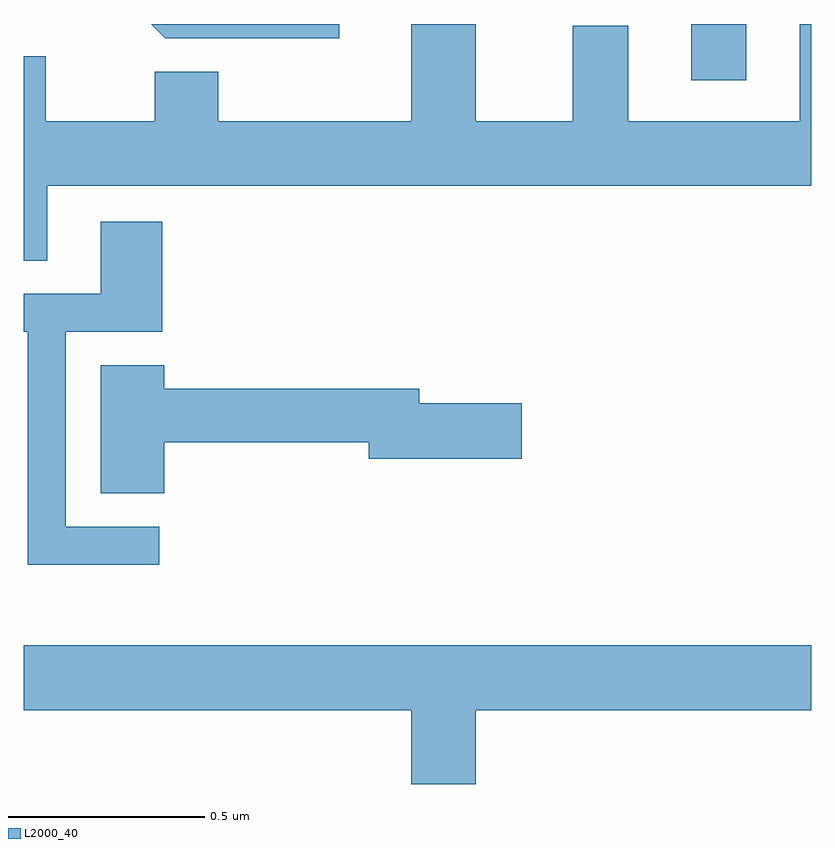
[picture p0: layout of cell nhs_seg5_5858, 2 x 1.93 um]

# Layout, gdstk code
import gdstk
lib = gdstk.Library(unit=1e-6, precision=1e-09)
def R(c, l, rs):  # rectangles x0, y0, x1, y1
    for r in rs: c.add(gdstk.rectangle(r[:2], r[2:], *l))
def P(c, l, *ps):  # polygons
    for p in ps: c.add(gdstk.Polygon(p, *l))
L2000_40 = (2000, 40)

nhs_seg5_5858 = lib.new_cell('nhs_seg5_5858')
R(nhs_seg5_5858, L2000_40, [(189.695,895.656,189.835,895.799)])
P(nhs_seg5_5858, L2000_40, [(190,895.799),(189.971,895.799),(189.971,895.552),(189.535,895.552),(189.535,895.795),(189.395,895.795),(189.395,895.552),(189.148,895.552),(189.148,895.799),(188.984,895.799),(188.984,895.552),(188.494,895.552),(188.494,895.678),(188.333,895.678),(188.333,895.552),(188.056,895.552),(188.056,895.717),(188,895.717),(188,895.198),(188.059,895.198),(188.059,895.388),(190,895.388)],
  [(188.801,895.799),(188.323,895.799),(188.359,895.763),(188.801,895.763)],
  [(188.344,894.522),(188.106,894.522),(188.106,895.017),(188.351,895.017),(188.351,895.297),(188.195,895.297),(188.195,895.113),(188,895.113),(188,895.017),(188.01,895.017),(188.01,894.425),(188.344,894.425)],
  [(188.356,894.736),(188.876,894.736),(188.876,894.694),(189.265,894.694),(189.265,894.836),(189.004,894.836),(189.004,894.872),(188.356,894.872),(188.356,894.932),(188.195,894.932),(188.195,894.607),(188.356,894.607)],
  [(188,894.056),(188.984,894.056),(188.984,893.868),(189.148,893.868),(189.148,894.056),(190,894.056),(190,894.22),(188,894.22)])

lib.write_gds('nhs_seg5_5858.gds')
